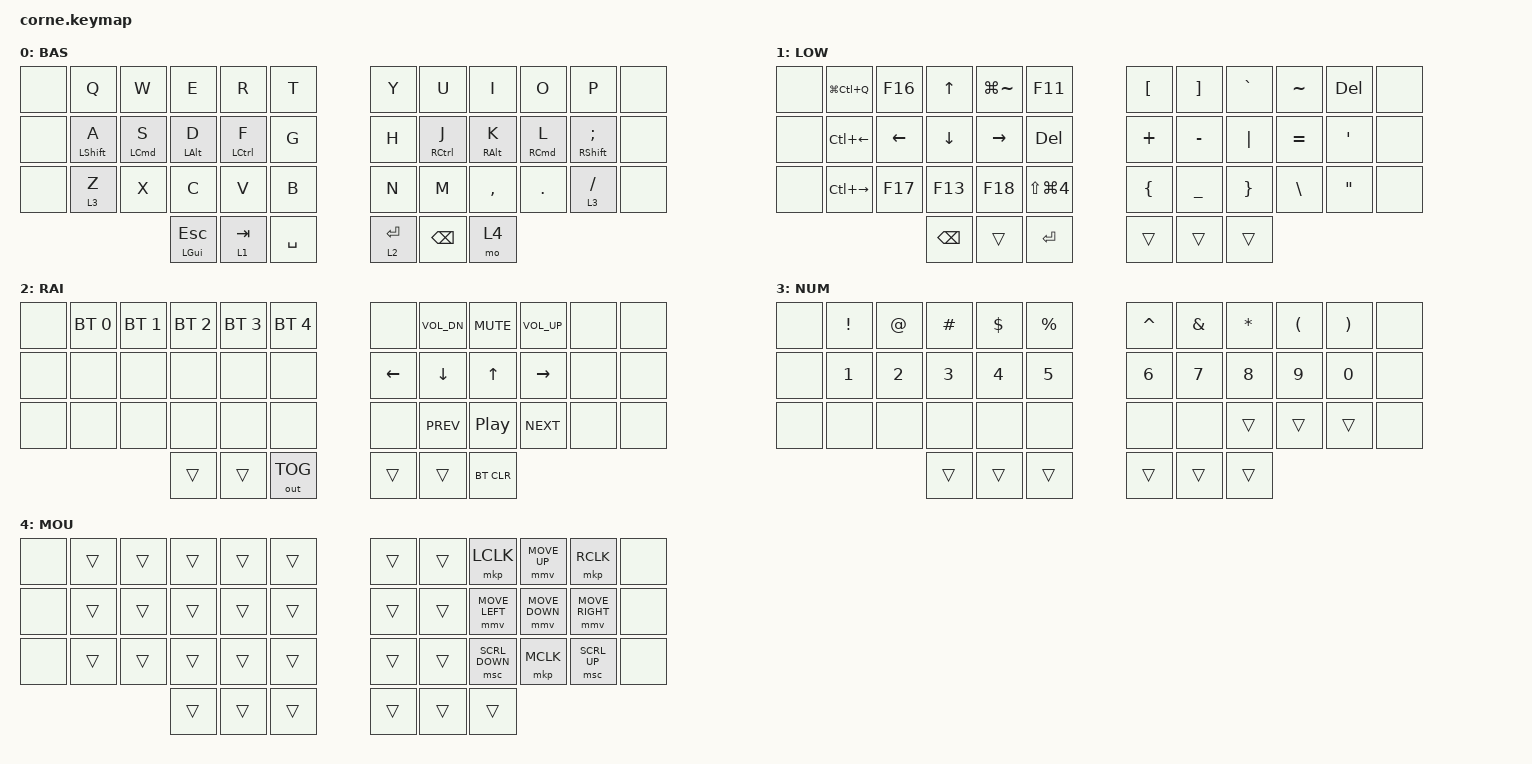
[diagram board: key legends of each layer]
/*
 * Copyright (c) 2020 The ZMK Contributors
 *
 * SPDX-License-Identifier: MIT
 */

#include <behaviors.dtsi>
#include <dt-bindings/zmk/keys.h>
#include <dt-bindings/zmk/bt.h>
#include <dt-bindings/zmk/outputs.h>
#include <dt-bindings/zmk/ext_power.h>
#include <dt-bindings/led/led.h>
#include <dt-bindings/zmk/backlight.h>
#include <dt-bindings/zmk/rgb.h>
#include <dt-bindings/zmk/reset.h>
#define ZMK_POINTING_DEFAULT_MOVE_VAL 1000  // default: 600 (prev: 1500의 2/3)
#define ZMK_POINTING_DEFAULT_SCRL_VAL 20    // default: 10
#include <dt-bindings/zmk/pointing.h>

&led_strip {
    chain-length = <27>;
};

/ {
    behaviors {
        hr_mt: homerow_mt {
            compatible = "zmk,behavior-hold-tap";
            label = "HOMEROW_MT";
            #binding-cells = <2>;

            flavor = "balanced";
            tapping-term-ms = <180>;
            quick-tap-ms = <100>;
            require-prior-idle-ms = <80>;

            bindings = <&kp>, <&kp>;
        };
    };
};

/ {
    keymap {
        compatible = "zmk,keymap";

        default_layer {
            display-name = "BAS";
            // -----------------------------------------------------------------------------------------
            // |      |  Q   |  W   |  E   |  R   |  T   |   |  Y   |  U   |  I   |  O   |  P   |      |
            // |      |A/SHFT|S/CMD |D/ALT |F/CTRL|  G   |   |  H   |J/CTRL|K/ALT |L/CMD |;/SHFT|      |
            // |      |Z/NUM |  X   |  C   |  V   |  B   |   |  N   |  M   |  ,   |  .   |//NUM |      |
            //                      |ESC/GU|TAB/LW| SPC  |   |RET/RS| BSPC | MOU  |

            bindings = <
&none  &kp Q           &kp W          &kp E           &kp R           &kp T         &kp Y      &kp U           &kp I         &kp O          &kp P              &none
&none  &hr_mt LSHFT A  &hr_mt LCMD S  &hr_mt LALT D   &hr_mt LCTRL F  &kp G         &kp H      &hr_mt RCTRL J  &hr_mt RALT K &hr_mt RCMD L  &hr_mt RSHFT SEMI  &none
&none  &lt 3 Z         &kp X          &kp C           &kp V           &kp B         &kp N      &kp M           &kp COMMA     &kp DOT        &lt 3 FSLH         &none
                                      &mt LGUI ESCAPE &lt 1 TAB       &kp SPACE     &lt 2 RET  &kp BSPC        &mo 4
            >;
        };

        lower_layer {
            display-name = "LOW";
            // -----------------------------------------------------------------------------------------
            // |      | SLP  | F16  |  UP  | G+~  | F11  |   |  [   |  ]   |  `   |  ~   | DEL  |      |
            // |      | D_L  | LEFT | DOWN |RIGHT | DEL  |   |  +   |  -   | PIPE |  =   |  '   |      |
            // |      | D_R  | F17  | F13  | F18  | SCR  |   |  {   |  _   |  }   |  \   |  "   |      |
            //                      | BSPC |      | RET  |   |      |      |      |

            bindings = <
&none  &kp LG(LC(Q))  &kp F16   &kp UP    &kp LG(TILDE)  &kp F11         &kp LBKT  &kp RBKT   &kp GRAVE  &kp TILDE  &kp DEL  &none
&none  &kp LC(LEFT)   &kp LEFT  &kp DOWN  &kp RIGHT      &kp DEL         &kp PLUS  &kp MINUS  &kp PIPE   &kp EQUAL  &kp SQT  &none
&none  &kp LC(RIGHT)  &kp F17   &kp F13   &kp F18        &kp LS(LG(N4))  &kp LBRC  &kp UNDER  &kp RBRC   &kp BSLH   &kp DQT  &none
                                &kp BSPC  &trans         &kp RET         &trans    &trans     &trans
            >;
        };

        raise_layer {
            display-name = "RAI";
            // -----------------------------------------------------------------------------------------
            // |      | BT1  | BT2  | BT3  | BT4  | BT5  |   |      |VOL_DN| MUTE |VOL_UP|      |      |
            // |      |      |      |      |      |      |   | LEFT | DOWN |  UP  |RIGHT |      |      |
            // |      |      |      |      |      |      |   |      | PREV | PLAY | NEXT |      |      |
            //                      |      |      |OUT_TG|   |      |      |BT_CLR|

            bindings = <
&none  &bt BT_SEL 0  &bt BT_SEL 1  &bt BT_SEL 2  &bt BT_SEL 3  &bt BT_SEL 4    &none     &kp C_VOL_DN  &kp C_MUTE  &kp C_VOL_UP  &none  &none
&none  &none         &none         &none         &none         &none           &kp LEFT  &kp DOWN      &kp UP      &kp RIGHT     &none  &none
&none  &none         &none         &none         &none         &none           &none     &kp C_PREV    &kp C_PP    &kp C_NEXT    &none  &none
                                   &trans        &trans        &out OUT_TOG    &trans    &trans        &bt BT_CLR
            >;
        };

        numeric_layer {
            display-name = "NUM";
            // -----------------------------------------------------------------------------------------
            // |      |  !   |  @   |  #   |  $   |  %   |   |  ^   |  &   |  *   |  (   |  )   |      |
            // |      |  1   |  2   |  3   |  4   |  5   |   |  6   |  7   |  8   |  9   |  0   |      |
            // |      |      |      |      |      |      |   |      |      |      |      |      |      |
            //                      |      |      |      |   |      |      |      |

            bindings = <
&none  &kp EXCL  &kp AT  &kp HASH  &kp DOLLAR  &kp PERCENT    &kp CARET  &kp AMPS  &kp ASTRK  &kp LPAR  &kp RPAR  &none
&none  &kp N1    &kp N2  &kp N3    &kp N4      &kp N5         &kp N6     &kp N7    &kp N8     &kp N9    &kp N0    &none
&none  &none     &none   &none     &none       &none          &none      &none     &trans     &trans    &trans    &none
                         &trans    &trans      &trans         &trans     &trans    &trans
            >;
        };

        mouse_layer {
            display-name = "MOU";
            // -----------------------------------------------------------------------------------------
            // |      |      |      |      |      |      |   |      |      | LCLK | M_UP | RCLK |      |
            // |      |      |      |      |      |      |   |      |      | M_LT | M_DN | M_RT |      |
            // |      |      |      |      |      |      |   |      |      |WH_DN |WH_CLK|WH_UP |      |
            //                      |      |      |      |   |      |      |      |

            bindings = <
&none  &trans  &trans  &trans  &trans  &trans    &trans  &trans  &mkp LCLK       &mmv MOVE_UP    &mkp RCLK       &none
&none  &trans  &trans  &trans  &trans  &trans    &trans  &trans  &mmv MOVE_LEFT  &mmv MOVE_DOWN  &mmv MOVE_RIGHT &none
&none  &trans  &trans  &trans  &trans  &trans    &trans  &trans  &msc SCRL_DOWN  &mkp MCLK       &msc SCRL_UP    &none
                       &trans  &trans  &trans    &trans  &trans  &trans
            >;
        };

        extra_1 {
            status = "reserved";
        };

        extra_2 {
            status = "reserved";
        };
    };
};
